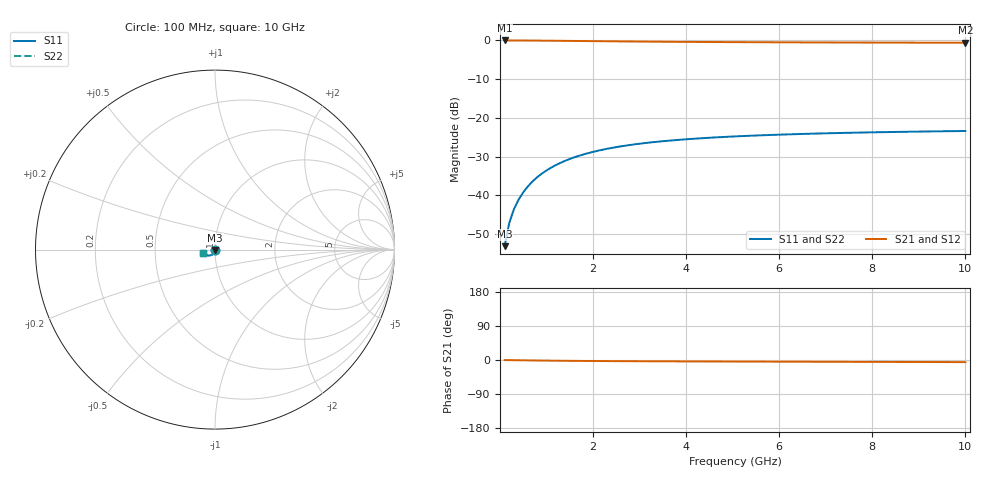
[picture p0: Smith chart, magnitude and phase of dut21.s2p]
! Touchstone file exported from HFSS 2024.1.0
!  File:  C:/UserFiles/LocalFiles/RDL_TSV_Batchsim/temp_TSV1_21_1778747024.aedt
!  Generated:  04:28:02 PM May 14, 2026
!  Design:  TSV1
!  Project:  temp_TSV1_21_1778747024
!  Setup:  Setup1
!  Solution:  Sweep
! Variables:
!  dtsv = 16.52um
!  hbump = 3um
!  htsv = 83.25um
!  lrdl = 252.1521522um
!  p = 40
!  p1 = 56.96um
!  t = 500um
!  trdl = 3um
!  wrdl = 24.89489489um
# GHz S MA R 50.000000
! Terminal data exported
! Port[1] = TSV22_T1
! Port[2] = TSV22_T2
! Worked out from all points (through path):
!   100 points, 100 MHz to 10 GHz, reference 50 ohm
!   highest |S21| = 0.00 dB at 100 MHz (marker M1); lowest = -0.6 dB at 10 GHz (marker M2)
!   lowest |S11| = -53.1 dB at 100 MHz (marker M3), VSWR 1.00, Z = 50 - j0.221 ohm
!   |S11| at or under -10 dB: start of sweep to end of sweep
!   |S22| runs from -53.1 to -23.4 dB; largest |S21 - S12| = 4.1e-15
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0.1  0.002211 -90.0  0.9998 -0.2  0.9998 -0.2  0.002211 -90.0
! Gamma 0 0 0 0
! Port Impedance 50 0 50 0
0.2  0.004426 -92.8  0.9996 -0.3  0.9996 -0.3  0.004426 -92.8
0.3  0.006631 -95.1  0.9992 -0.5  0.9992 -0.5  0.006631 -95.1
0.4  0.008814 -97.2  0.9987 -0.7  0.9987 -0.7  0.008814 -97.2
0.5  0.01096 -99.3  0.998 -0.8  0.998 -0.8  0.01096 -99.3
0.6  0.01307 -101.3  0.9972 -1.0  0.9972 -1.0  0.01307 -101.3
0.7  0.01514 -103.2  0.9963 -1.2  0.9963 -1.2  0.01514 -103.2
0.8  0.01715 -105.1  0.9953 -1.3  0.9953 -1.3  0.01715 -105.1
0.9  0.01911 -106.9  0.9942 -1.5  0.9942 -1.5  0.01911 -106.9
1.1  0.02284 -110.5  0.9919 -1.7  0.9919 -1.7  0.02284 -110.5
1.4  0.02795 -115.4  0.988 -2.1  0.988 -2.1  0.02795 -115.4
1.6  0.03104 -118.4  0.9853 -2.3  0.9853 -2.3  0.03104 -118.4
1.8  0.03387 -121.3  0.9826 -2.5  0.9826 -2.5  0.03387 -121.3
2.1  0.03767 -125.2  0.9785 -2.7  0.9785 -2.7  0.03767 -125.2
2.5  0.04201 -129.7  0.9735 -3.0  0.9735 -3.0  0.04201 -129.7
2.9  0.04564 -133.7  0.9689 -3.2  0.9689 -3.2  0.04564 -133.7
3.4  0.04939 -138.0  0.9638 -3.5  0.9638 -3.5  0.04939 -138.0
4.2  0.05404 -143.6  0.957 -3.8  0.957 -3.8  0.05404 -143.6
5.1  0.05791 -148.6  0.9511 -4.1  0.9511 -4.1  0.05791 -148.6
6.7  0.0626 -155.3  0.9436 -4.6  0.9436 -4.6  0.0626 -155.3
8.4  0.06579 -160.5  0.9382 -5.1  0.9382 -5.1  0.06579 -160.5
10  0.06781 -164.4  0.9347 -5.6  0.9347 -5.6  0.06781 -164.4
